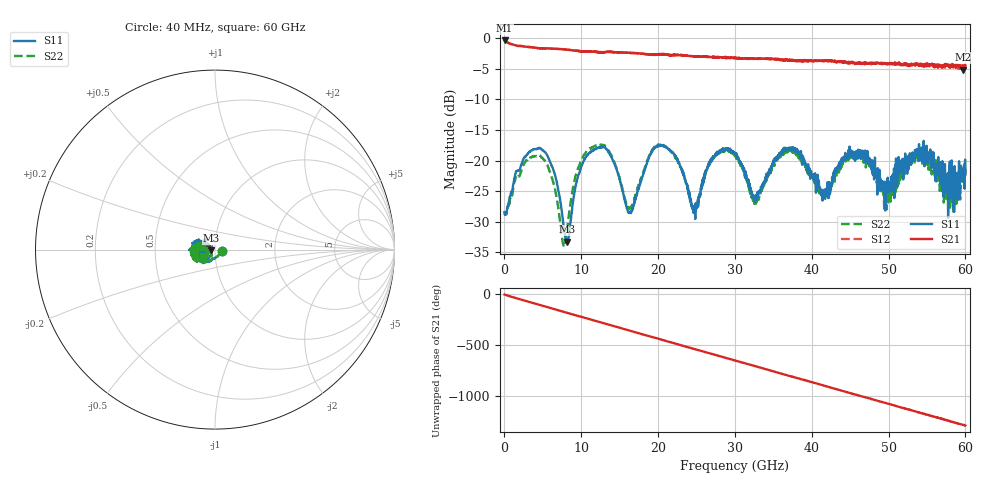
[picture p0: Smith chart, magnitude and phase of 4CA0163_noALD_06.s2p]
! File created by 'SoftPlot +Plus+ Measurement Management Software'
! SoftPlot +Plus+ Measurement Management Software
! Start 40.000000 MHz  Stop 60.000000 GHz  Points 1601
# MHZ S RI R 50
! S-Parameter data, F S11 S21 S12 S22
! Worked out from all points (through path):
!   1601 points, 40 MHz to 60 GHz, reference 50 ohm
!   highest |S21| = -0.38 dB at 40 MHz (marker M1); lowest = -5.1 dB at 59.74 GHz (marker M2)
!   group delay of S21, straight-line fit = 59.7 ps
!   lowest |S11| = -33.2 dB at 8.172 GHz (marker M3), VSWR 1.04, Z = 47.9 - j0.392 ohm
!   |S11| at or under -10 dB: start of sweep to end of sweep
!   |S22| runs from -34.0 to -17.4 dB; largest |S21 - S12| = 0.056
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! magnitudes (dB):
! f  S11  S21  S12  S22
! 40 MHz  -28.4  -0.4  -0.4  -28.3
! 4.724 GHz  -18.0  -1.6  -1.7  -19.2
! 6.373 GHz  -21.5  -1.7  -1.7  -23.5
! 7.647 GHz  -29.9  -1.8  -1.8  -33.5
! 8.172 GHz  -33.2  -1.9  -1.9  -31.2
! 10.05 GHz  -20.9  -2.2  -2.1  -19.9
! 13.23 GHz  -18.1  -2.3  -2.3  -17.8
! 16.38 GHz  -28.3  -2.4  -2.4  -27.7
! 20.05 GHz  -17.6  -2.7  -2.6  -17.4
! 24.77 GHz  -28.6  -3.0  -2.9  -28.4
! 27.06 GHz  -19.6  -3.1  -3.0  -19.9
! 30.02 GHz  -18.8  -3.2  -3.2  -19.2
! 32.64 GHz  -26.8  -3.4  -3.3  -27.2
! 36.69 GHz  -18.4  -3.6  -3.6  -18.8
! 40.03 GHz  -22.4  -3.7  -3.8  -22.7
! 41.67 GHz  -25.5  -3.7  -3.7  -25.4
! 46.02 GHz  -18.8  -4.1  -4.2  -19.2
! 50.03 GHz  -25.2  -4.2  -4.2  -25.0
! 53.37 GHz  -19.1  -4.3  -4.4  -20.6
! 57.83 GHz  -21.9  -4.4  -4.6  -25.4
! 59.74 GHz  -22.1  -5.1  -4.8  -23.9
! 60 GHz  -22.3  -4.8  -4.6  -22.2
